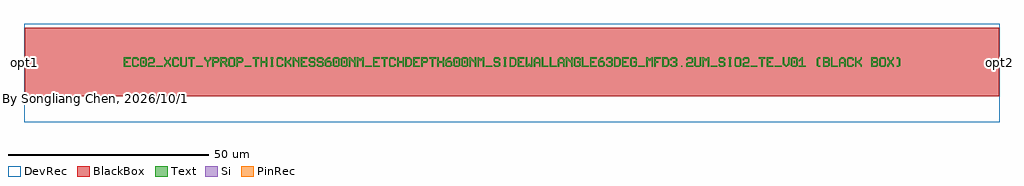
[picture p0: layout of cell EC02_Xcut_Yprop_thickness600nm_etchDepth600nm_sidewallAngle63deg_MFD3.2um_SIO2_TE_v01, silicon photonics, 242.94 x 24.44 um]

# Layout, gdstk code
import gdstk
lib = gdstk.Library(unit=1e-6, precision=1e-10)
def R(c, l, rs):  # rectangles x0, y0, x1, y1
    for r in rs: c.add(gdstk.rectangle(r[:2], r[2:], *l))
def A(c, l, x, y, w, h, nx, ny, dx, dy):  # array of equal rectangles
    R(c, l, [(x+i*dx, y+j*dy, x+i*dx+w, y+j*dy+h) for i in range(nx) for j in range(ny)])
def P(c, l, *ps):  # polygons
    for p in ps: c.add(gdstk.Polygon(p, *l))
Si = (1, 0)
PinRec = (1, 10)
Text = (10, 0)
DevRec = (68, 0)
BlackBox = (998, 0)

text = lib.new_cell('TEXT')
A(text, Text, 30, 0, 1.667, 0.333, 3, 1, 30, 0)
R(text, Text, [(8,0,9.667,0.333), (18,0,19.667,0.333), (128,0,129.667,0.333), (138.667,0,139,0.333), (146,0,147.667,0.333), (156,0,157.667,0.333), (162,0,163.667,0.333), (4.667,0.833,5,1.5), (52.667,0.833,53,1.5), (54.667,0.833,55,1.5), (82.667,0.833,83,1.5), (84.667,0.833,85,1.5), (166.667,0.833,167,1.5)])
P(text, Text, [(96,0),(96,2.334),(97.167,2.334),(97.5,2),(96.333,2),(96.333,0.333),(97,0.333),(97.333,0.667),(97.333,1.667),(97,2),(97.5,2),(97.667,1.833),(97.667,0.5),(97.167,0)],
  [(98,0),(98,2.334),(99.667,2.334),(99.667,2),(98.333,2),(98.333,1.333),(99,1.333),(99,1),(98.333,1),(98.333,0.333),(99.667,0.333),(99.667,0)],
  [(100,0),(100,2.334),(100.333,2.334),(100.333,0.5),(100.5,0.5),(100.833,0.833),(101.167,0.5),(101.333,0.5),(101.333,2.334),(101.667,2.334),(101.667,0),(101.167,0),(100.833,0.333),(100.5,0)],
  [(102,0),(102,1.833),(102.5,2.334),(103.167,2.334),(103.5,2),(102.667,2),(102.333,1.667),(102.333,1.167),(103.333,1.167),(103.333,1.667),(103,2),(103.5,2),(103.667,1.833),(103.667,0),(103.333,0),(103.333,0.833),(102.333,0.833),(102.333,0)],
  [(104,0),(104,2.334),(104.333,2.334),(104.333,0.333),(105.667,0.333),(105.667,0)],
  [(106,0),(106,2.334),(106.333,2.334),(106.333,0.333),(107.667,0.333),(107.667,0)],
  [(108,0),(108,1.833),(108.5,2.334),(109.167,2.334),(109.5,2),(108.667,2),(108.333,1.667),(108.333,1.167),(109.333,1.167),(109.333,1.667),(109,2),(109.5,2),(109.667,1.833),(109.667,0),(109.333,0),(109.333,0.833),(108.333,0.833),(108.333,0)],
  [(110,0),(110,2.334),(110.333,2.334),(111.167,1.5),(111.333,1.5),(111.333,2.334),(111.667,2.334),(111.667,0),(111.333,0),(111.333,0.833),(110.5,1.667),(110.333,1.667),(110.333,0)],
  [(112.333,0),(112,0.333),(112,2),(112.333,2.334),(113.333,2.334),(113.667,2),(113.667,1.667),(113.333,1.667),(113.333,1.833),(113.167,2),(112.5,2),(112.333,1.833),(112.333,0.5),(112.5,0.333),(113.167,0.333),(113.333,0.5),(113.333,1),(112.833,1),(112.833,1.333),(113.667,1.333),(113.667,0.333),(113.333,0)],
  [(114,0),(114,2.334),(114.333,2.334),(114.333,0.333),(115.667,0.333),(115.667,0)],
  [(116,0),(116,2.334),(117.667,2.334),(117.667,2),(116.333,2),(116.333,1.333),(117,1.333),(117,1),(116.333,1),(116.333,0.333),(117.667,0.333),(117.667,0)],
  [(118.333,0),(118,0.333),(118,1.667),(118.667,2.334),(119.333,2.334),(119.333,2),(118.833,2),(118.5,1.667),(118.5,1.5),(119.333,1.5),(119.667,1.167),(118.5,1.167),(118.333,1),(118.333,0.5),(118.5,0.333),(119.167,0.333),(119.333,0.5),(119.333,1),(119.167,1.167),(119.667,1.167),(119.667,0.333),(119.333,0)],
  [(120.333,0),(120,0.333),(120,0.667),(120.333,0.667),(120.333,0.5),(120.5,0.333),(121.167,0.333),(121.333,0.5),(121.333,0.833),(121.167,1),(120.667,1),(120.667,1.333),(121.167,1.333),(121.333,1.5),(121.333,1.833),(121.167,2),(120.5,2),(120.333,1.833),(120.333,1.667),(120,1.667),(120,2),(120.333,2.334),(121.333,2.334),(121.667,2),(121.667,1.333),(121.5,1.167),(121.667,1),(121.667,0.333),(121.333,0)],
  [(122,0),(122,2.334),(123.167,2.334),(123.5,2),(122.333,2),(122.333,0.333),(123,0.333),(123.333,0.667),(123.333,1.667),(123,2),(123.5,2),(123.667,1.833),(123.667,0.5),(123.167,0)],
  [(124,0),(124,2.334),(125.667,2.334),(125.667,2),(124.333,2),(124.333,1.333),(125,1.333),(125,1),(124.333,1),(124.333,0.333),(125.667,0.333),(125.667,0)],
  [(126.333,0),(126,0.333),(126,2),(126.333,2.334),(127.333,2.334),(127.667,2),(127.667,1.667),(127.333,1.667),(127.333,1.833),(127.167,2),(126.5,2),(126.333,1.833),(126.333,0.5),(126.5,0.333),(127.167,0.333),(127.333,0.5),(127.333,1),(126.833,1),(126.833,1.333),(127.667,1.333),(127.667,0.333),(127.333,0)],
  [(130,0),(130,2.334),(130.333,2.334),(130.667,2),(131,2),(131.333,2.334),(131.667,2.334),(131.667,0),(131.333,0),(131.333,1.667),(131.167,1.667),(130.833,1.333),(130.5,1.667),(130.333,1.667),(130.333,0)],
  [(132,0),(132,2.334),(133.667,2.334),(133.667,2),(132.333,2),(132.333,1.333),(133,1.333),(133,1),(132.333,1),(132.333,0)],
  [(134,0),(134,2.334),(135.167,2.334),(135.5,2),(134.333,2),(134.333,0.333),(135,0.333),(135.333,0.667),(135.333,1.667),(135,2),(135.5,2),(135.667,1.833),(135.667,0.5),(135.167,0)],
  [(136.333,0),(136,0.333),(136,0.667),(136.333,0.667),(136.333,0.5),(136.5,0.333),(137.167,0.333),(137.333,0.5),(137.333,0.833),(137.167,1),(136.667,1),(136.667,1.333),(137.167,1.333),(137.333,1.5),(137.333,1.833),(137.167,2),(136.5,2),(136.333,1.833),(136.333,1.667),(136,1.667),(136,2),(136.333,2.334),(137.333,2.334),(137.667,2),(137.667,1.333),(137.5,1.167),(137.667,1),(137.667,0.333),(137.333,0)],
  [(140,0),(140,0.833),(140.333,1.167),(141.167,1.167),(141.333,1.333),(141.333,1.833),(141.167,2),(140.5,2),(140.333,1.833),(140.333,1.667),(140,1.667),(140,2),(140.333,2.334),(141.333,2.334),(141.667,2),(141.667,1.167),(141.333,0.833),(140.5,0.833),(140.333,0.667),(140.333,0.333),(141.667,0.333),(141.667,0)],
  [(142.333,0),(142,0.333),(142,2.334),(142.333,2.334),(142.333,0.5),(142.5,0.333),(143.167,0.333),(143.333,0.5),(143.333,2.334),(143.667,2.334),(143.667,0.333),(143.333,0)],
  [(144,0),(144,2.334),(144.333,2.334),(144.667,2),(145,2),(145.333,2.334),(145.667,2.334),(145.667,0),(145.333,0),(145.333,1.667),(145.167,1.667),(144.833,1.333),(144.5,1.667),(144.333,1.667),(144.333,0)],
  [(148.333,0),(148,0.333),(148,0.667),(148.333,0.667),(148.333,0.5),(148.5,0.333),(149.167,0.333),(149.333,0.5),(149.333,0.833),(149.167,1),(148.333,1),(148,1.333),(148,2),(148.333,2.334),(149.333,2.334),(149.667,2),(149.667,1.667),(149.333,1.667),(149.333,1.833),(149.167,2),(148.5,2),(148.333,1.833),(148.333,1.5),(148.5,1.333),(149.333,1.333),(149.667,1),(149.667,0.333),(149.333,0)],
  [(150.5,0),(150.5,0.333),(150.667,0.333),(150.667,2),(150.5,2),(150.5,2.334),(151.167,2.334),(151.167,2),(151,2),(151,0.333),(151.167,0.333),(151.167,0)],
  [(152.333,0),(152,0.333),(152,2),(152.333,2.334),(153.333,2.334),(153.667,2),(153.667,1.167),(153.333,1.167),(153.333,1.833),(153.167,2),(152.5,2),(152.333,1.833),(152.333,0.5),(152.5,0.333),(153.167,0.333),(153.333,0.5),(153.333,1.167),(153.667,1.167),(153.667,0.333),(153.333,0)],
  [(154,0),(154,0.833),(154.333,1.167),(155.167,1.167),(155.333,1.333),(155.333,1.833),(155.167,2),(154.5,2),(154.333,1.833),(154.333,1.667),(154,1.667),(154,2),(154.333,2.334),(155.333,2.334),(155.667,2),(155.667,1.167),(155.333,0.833),(154.5,0.833),(154.333,0.667),(154.333,0.333),(155.667,0.333),(155.667,0)],
  [(158.667,0),(158.667,2),(158,2),(158,2.334),(159.667,2.334),(159.667,2),(159,2),(159,0)],
  [(160,0),(160,2.334),(161.667,2.334),(161.667,2),(160.333,2),(160.333,1.333),(161,1.333),(161,1),(160.333,1),(160.333,0.333),(161.667,0.333),(161.667,0)],
  [(164.667,0),(164,0.667),(164,2.334),(164.333,2.334),(164.333,0.833),(164.833,0.333),(165.333,0.833),(165.333,2.334),(165.667,2.334),(165.667,0.667),(165,0)],
  [(166.333,0),(166,0.333),(166,2),(166.333,2.334),(167.333,2.334),(167.667,2),(166.5,2),(166.333,1.833),(166.333,0.5),(166.5,0.333),(167.167,0.333),(167.333,0.5),(167.333,1.833),(167.167,2),(167.667,2),(167.667,0.333),(167.333,0)],
  [(168,0),(168,0.333),(168.667,0.333),(168.667,1.667),(168.5,1.667),(168.167,1.333),(168,1.333),(168,1.667),(168.667,2.334),(169,2.334),(169,0.333),(169.667,0.333),(169.667,0)],
  [(172.833,0),(172.5,0.333),(172.5,2),(172.833,2.334),(173.333,2.334),(173.333,2),(173,2),(172.833,1.833),(172.833,0.5),(173,0.333),(173.333,0.333),(173.333,0)],
  [(174,0),(174,2.334),(175.333,2.334),(175.667,2),(174.333,2),(174.333,1.333),(175.167,1.333),(175.333,1.5),(175.333,1.833),(175.167,2),(175.667,2),(175.667,1.333),(175.5,1.167),(175.667,1),(174.333,1),(174.333,0.333),(175.167,0.333),(175.333,0.5),(175.333,0.833),(175.167,1),(175.667,1),(175.667,0.333),(175.333,0)],
  [(176,0),(176,2.334),(176.333,2.334),(176.333,0.333),(177.667,0.333),(177.667,0)],
  [(178,0),(178,1.833),(178.5,2.334),(179.167,2.334),(179.5,2),(178.667,2),(178.333,1.667),(178.333,1.167),(179.333,1.167),(179.333,1.667),(179,2),(179.5,2),(179.667,1.833),(179.667,0),(179.333,0),(179.333,0.833),(178.333,0.833),(178.333,0)],
  [(180.333,0),(180,0.333),(180,2),(180.333,2.334),(181.333,2.334),(181.667,2),(181.667,1.667),(181.333,1.667),(181.333,1.833),(181.167,2),(180.5,2),(180.333,1.833),(180.333,0.5),(180.5,0.333),(181.167,0.333),(181.333,0.5),(181.333,0.667),(181.667,0.667),(181.667,0.333),(181.333,0)],
  [(182,0),(182,2.334),(182.333,2.334),(182.333,1.333),(182.667,1.333),(183.333,2),(183.333,2.334),(183.667,2.334),(183.667,1.833),(183,1.167),(183.667,0.5),(183.667,0),(183.333,0),(183.333,0.333),(182.667,1),(182.333,1),(182.333,0)],
  [(186,0),(186,2.334),(187.333,2.334),(187.667,2),(186.333,2),(186.333,1.333),(187.167,1.333),(187.333,1.5),(187.333,1.833),(187.167,2),(187.667,2),(187.667,1.333),(187.5,1.167),(187.667,1),(186.333,1),(186.333,0.333),(187.167,0.333),(187.333,0.5),(187.333,0.833),(187.167,1),(187.667,1),(187.667,0.333),(187.333,0)],
  [(188.333,0),(188,0.333),(188,2),(188.333,2.334),(189.333,2.334),(189.667,2),(189.667,1.167),(189.333,1.167),(189.333,1.833),(189.167,2),(188.5,2),(188.333,1.833),(188.333,0.5),(188.5,0.333),(189.167,0.333),(189.333,0.5),(189.333,1.167),(189.667,1.167),(189.667,0.333),(189.333,0)],
  [(190,0),(190,0.5),(190.5,1),(190.5,1.333),(190,1.833),(190,2.334),(190.333,2.334),(190.333,2),(190.833,1.5),(191.333,2),(191.333,2.334),(191.667,2.334),(191.667,1.833),(191.167,1.333),(191.167,1),(191.667,0.5),(191.667,0),(191.333,0),(191.333,0.333),(190.833,0.833),(190.333,0.333),(190.333,0)],
  [(192.333,0),(192.333,0.333),(192.667,0.333),(192.833,0.5),(192.833,1.833),(192.667,2),(192.333,2),(192.333,2.334),(192.833,2.334),(193.167,2),(193.167,0.333),(192.833,0)],
  [(86,0),(86,2.334),(86.333,2.334),(87.167,1.5),(87.333,1.5),(87.333,2.334),(87.667,2.334),(87.667,0),(87.333,0),(87.333,0.833),(86.5,1.667),(86.333,1.667),(86.333,0)],
  [(88,0),(88,2.334),(88.333,2.334),(88.667,2),(89,2),(89.333,2.334),(89.667,2.334),(89.667,0),(89.333,0),(89.333,1.667),(89.167,1.667),(88.833,1.333),(88.5,1.667),(88.333,1.667),(88.333,0)],
  [(92.333,0),(92,0.333),(92,0.667),(92.333,0.667),(92.333,0.5),(92.5,0.333),(93.167,0.333),(93.333,0.5),(93.333,0.833),(93.167,1),(92.333,1),(92,1.333),(92,2),(92.333,2.334),(93.333,2.334),(93.667,2),(93.667,1.667),(93.333,1.667),(93.333,1.833),(93.167,2),(92.5,2),(92.333,1.833),(92.333,1.5),(92.5,1.333),(93.333,1.333),(93.667,1),(93.667,0.333),(93.333,0)],
  [(94.5,0),(94.5,0.333),(94.667,0.333),(94.667,2),(94.5,2),(94.5,2.334),(95.167,2.334),(95.167,2),(95,2),(95,0.333),(95.167,0.333),(95.167,0)],
  [(0,0),(0,2.334),(1.667,2.334),(1.667,2),(0.333,2),(0.333,1.333),(1,1.333),(1,1),(0.333,1),(0.333,0.333),(1.667,0.333),(1.667,0)],
  [(2.333,0),(2,0.333),(2,2),(2.333,2.334),(3.333,2.334),(3.667,2),(3.667,1.667),(3.333,1.667),(3.333,1.833),(3.167,2),(2.5,2),(2.333,1.833),(2.333,0.5),(2.5,0.333),(3.167,0.333),(3.333,0.5),(3.333,0.667),(3.667,0.667),(3.667,0.333),(3.333,0)],
  [(4.333,0),(4,0.333),(4,2),(4.333,2.334),(5.333,2.334),(5.667,2),(4.5,2),(4.333,1.833),(4.333,0.5),(4.5,0.333),(5.167,0.333),(5.333,0.5),(5.333,1.833),(5.167,2),(5.667,2),(5.667,0.333),(5.333,0)],
  [(6,0),(6,0.833),(6.333,1.167),(7.167,1.167),(7.333,1.333),(7.333,1.833),(7.167,2),(6.5,2),(6.333,1.833),(6.333,1.667),(6,1.667),(6,2),(6.333,2.334),(7.333,2.334),(7.667,2),(7.667,1.167),(7.333,0.833),(6.5,0.833),(6.333,0.667),(6.333,0.333),(7.667,0.333),(7.667,0)],
  [(10,0),(10,0.5),(10.5,1),(10.5,1.333),(10,1.833),(10,2.334),(10.333,2.334),(10.333,2),(10.833,1.5),(11.333,2),(11.333,2.334),(11.667,2.334),(11.667,1.833),(11.167,1.333),(11.167,1),(11.667,0.5),(11.667,0),(11.333,0),(11.333,0.333),(10.833,0.833),(10.333,0.333),(10.333,0)],
  [(12.333,0),(12,0.333),(12,2),(12.333,2.334),(13.333,2.334),(13.667,2),(13.667,1.667),(13.333,1.667),(13.333,1.833),(13.167,2),(12.5,2),(12.333,1.833),(12.333,0.5),(12.5,0.333),(13.167,0.333),(13.333,0.5),(13.333,0.667),(13.667,0.667),(13.667,0.333),(13.333,0)],
  [(14.333,0),(14,0.333),(14,2.334),(14.333,2.334),(14.333,0.5),(14.5,0.333),(15.167,0.333),(15.333,0.5),(15.333,2.334),(15.667,2.334),(15.667,0.333),(15.333,0)],
  [(16.667,0),(16.667,2),(16,2),(16,2.334),(17.667,2.334),(17.667,2),(17,2),(17,0)],
  [(20.667,0),(20.667,1.167),(20,1.833),(20,2.334),(20.333,2.334),(20.333,2),(20.833,1.5),(21.333,2),(21.333,2.334),(21.667,2.334),(21.667,1.833),(21,1.167),(21,0)],
  [(22,0),(22,2.334),(23.333,2.334),(23.667,2),(23.667,1.333),(23.333,1),(22.333,1),(22.333,1.333),(23.167,1.333),(23.333,1.5),(23.333,1.833),(23.167,2),(22.333,2),(22.333,0)],
  [(24,0),(24,2.334),(25.333,2.334),(25.667,2),(24.333,2),(24.333,1.333),(25.167,1.333),(25.333,1.5),(25.333,1.833),(25.167,2),(25.667,2),(25.667,1.333),(25.333,1),(25.333,0.833),(25.667,0.5),(25.667,0),(25.333,0),(25.333,0.333),(24.667,1),(24.333,1),(24.333,0)],
  [(26.333,0),(26,0.333),(26,2),(26.333,2.334),(27.333,2.334),(27.667,2),(27.667,1.167),(27.333,1.167),(27.333,1.833),(27.167,2),(26.5,2),(26.333,1.833),(26.333,0.5),(26.5,0.333),(27.167,0.333),(27.333,0.5),(27.333,1.167),(27.667,1.167),(27.667,0.333),(27.333,0)],
  [(28,0),(28,2.334),(29.333,2.334),(29.667,2),(29.667,1.333),(29.333,1),(28.333,1),(28.333,1.333),(29.167,1.333),(29.333,1.5),(29.333,1.833),(29.167,2),(28.333,2),(28.333,0)],
  [(32.667,0),(32.667,2),(32,2),(32,2.334),(33.667,2.334),(33.667,2),(33,2),(33,0)],
  [(34,0),(34,2.334),(34.333,2.334),(34.333,1.333),(35.333,1.333),(35.333,2.334),(35.667,2.334),(35.667,0),(35.333,0),(35.333,1),(34.333,1),(34.333,0)],
  [(36.5,0),(36.5,0.333),(36.667,0.333),(36.667,2),(36.5,2),(36.5,2.334),(37.167,2.334),(37.167,2),(37,2),(37,0.333),(37.167,0.333),(37.167,0)],
  [(38.333,0),(38,0.333),(38,2),(38.333,2.334),(39.333,2.334),(39.667,2),(39.667,1.667),(39.333,1.667),(39.333,1.833),(39.167,2),(38.5,2),(38.333,1.833),(38.333,0.5),(38.5,0.333),(39.167,0.333),(39.333,0.5),(39.333,0.667),(39.667,0.667),(39.667,0.333),(39.333,0)],
  [(40,0),(40,2.334),(40.333,2.334),(40.333,1.333),(40.667,1.333),(41.333,2),(41.333,2.334),(41.667,2.334),(41.667,1.833),(41,1.167),(41.667,0.5),(41.667,0),(41.333,0),(41.333,0.333),(40.667,1),(40.333,1),(40.333,0)],
  [(42,0),(42,2.334),(42.333,2.334),(43.167,1.5),(43.333,1.5),(43.333,2.334),(43.667,2.334),(43.667,0),(43.333,0),(43.333,0.833),(42.5,1.667),(42.333,1.667),(42.333,0)],
  [(44,0),(44,2.334),(45.667,2.334),(45.667,2),(44.333,2),(44.333,1.333),(45,1.333),(45,1),(44.333,1),(44.333,0.333),(45.667,0.333),(45.667,0)],
  [(46.333,0),(46,0.333),(46,0.667),(46.333,0.667),(46.333,0.5),(46.5,0.333),(47.167,0.333),(47.333,0.5),(47.333,0.833),(47.167,1),(46.333,1),(46,1.333),(46,2),(46.333,2.334),(47.333,2.334),(47.667,2),(47.667,1.667),(47.333,1.667),(47.333,1.833),(47.167,2),(46.5,2),(46.333,1.833),(46.333,1.5),(46.5,1.333),(47.333,1.333),(47.667,1),(47.667,0.333),(47.333,0)],
  [(48.333,0),(48,0.333),(48,0.667),(48.333,0.667),(48.333,0.5),(48.5,0.333),(49.167,0.333),(49.333,0.5),(49.333,0.833),(49.167,1),(48.333,1),(48,1.333),(48,2),(48.333,2.334),(49.333,2.334),(49.667,2),(49.667,1.667),(49.333,1.667),(49.333,1.833),(49.167,2),(48.5,2),(48.333,1.833),(48.333,1.5),(48.5,1.333),(49.333,1.333),(49.667,1),(49.667,0.333),(49.333,0)],
  [(50.333,0),(50,0.333),(50,1.667),(50.667,2.334),(51.333,2.334),(51.333,2),(50.833,2),(50.5,1.667),(50.5,1.5),(51.333,1.5),(51.667,1.167),(50.5,1.167),(50.333,1),(50.333,0.5),(50.5,0.333),(51.167,0.333),(51.333,0.5),(51.333,1),(51.167,1.167),(51.667,1.167),(51.667,0.333),(51.333,0)],
  [(52.333,0),(52,0.333),(52,2),(52.333,2.334),(53.333,2.334),(53.667,2),(52.5,2),(52.333,1.833),(52.333,0.5),(52.5,0.333),(53.167,0.333),(53.333,0.5),(53.333,1.833),(53.167,2),(53.667,2),(53.667,0.333),(53.333,0)],
  [(54.333,0),(54,0.333),(54,2),(54.333,2.334),(55.333,2.334),(55.667,2),(54.5,2),(54.333,1.833),(54.333,0.5),(54.5,0.333),(55.167,0.333),(55.333,0.5),(55.333,1.833),(55.167,2),(55.667,2),(55.667,0.333),(55.333,0)],
  [(56,0),(56,2.334),(56.333,2.334),(57.167,1.5),(57.333,1.5),(57.333,2.334),(57.667,2.334),(57.667,0),(57.333,0),(57.333,0.833),(56.5,1.667),(56.333,1.667),(56.333,0)],
  [(58,0),(58,2.334),(58.333,2.334),(58.667,2),(59,2),(59.333,2.334),(59.667,2.334),(59.667,0),(59.333,0),(59.333,1.667),(59.167,1.667),(58.833,1.333),(58.5,1.667),(58.333,1.667),(58.333,0)],
  [(62,0),(62,2.334),(63.667,2.334),(63.667,2),(62.333,2),(62.333,1.333),(63,1.333),(63,1),(62.333,1),(62.333,0.333),(63.667,0.333),(63.667,0)],
  [(64.667,0),(64.667,2),(64,2),(64,2.334),(65.667,2.334),(65.667,2),(65,2),(65,0)],
  [(66.333,0),(66,0.333),(66,2),(66.333,2.334),(67.333,2.334),(67.667,2),(67.667,1.667),(67.333,1.667),(67.333,1.833),(67.167,2),(66.5,2),(66.333,1.833),(66.333,0.5),(66.5,0.333),(67.167,0.333),(67.333,0.5),(67.333,0.667),(67.667,0.667),(67.667,0.333),(67.333,0)],
  [(68,0),(68,2.334),(68.333,2.334),(68.333,1.333),(69.333,1.333),(69.333,2.334),(69.667,2.334),(69.667,0),(69.333,0),(69.333,1),(68.333,1),(68.333,0)],
  [(70,0),(70,2.334),(71.167,2.334),(71.5,2),(70.333,2),(70.333,0.333),(71,0.333),(71.333,0.667),(71.333,1.667),(71,2),(71.5,2),(71.667,1.833),(71.667,0.5),(71.167,0)],
  [(72,0),(72,2.334),(73.667,2.334),(73.667,2),(72.333,2),(72.333,1.333),(73,1.333),(73,1),(72.333,1),(72.333,0.333),(73.667,0.333),(73.667,0)],
  [(74,0),(74,2.334),(75.333,2.334),(75.667,2),(75.667,1.333),(75.333,1),(74.333,1),(74.333,1.333),(75.167,1.333),(75.333,1.5),(75.333,1.833),(75.167,2),(74.333,2),(74.333,0)],
  [(76.667,0),(76.667,2),(76,2),(76,2.334),(77.667,2.334),(77.667,2),(77,2),(77,0)],
  [(78,0),(78,2.334),(78.333,2.334),(78.333,1.333),(79.333,1.333),(79.333,2.334),(79.667,2.334),(79.667,0),(79.333,0),(79.333,1),(78.333,1),(78.333,0)],
  [(80.333,0),(80,0.333),(80,1.667),(80.667,2.334),(81.333,2.334),(81.333,2),(80.833,2),(80.5,1.667),(80.5,1.5),(81.333,1.5),(81.667,1.167),(80.5,1.167),(80.333,1),(80.333,0.5),(80.5,0.333),(81.167,0.333),(81.333,0.5),(81.333,1),(81.167,1.167),(81.667,1.167),(81.667,0.333),(81.333,0)],
  [(82.333,0),(82,0.333),(82,2),(82.333,2.334),(83.333,2.334),(83.667,2),(82.5,2),(82.333,1.833),(82.333,0.5),(82.5,0.333),(83.167,0.333),(83.333,0.5),(83.333,1.833),(83.167,2),(83.667,2),(83.667,0.333),(83.333,0)],
  [(84.333,0),(84,0.333),(84,2),(84.333,2.334),(85.333,2.334),(85.667,2),(84.5,2),(84.333,1.833),(84.333,0.5),(84.5,0.333),(85.167,0.333),(85.333,0.5),(85.333,1.833),(85.167,2),(85.667,2),(85.667,0.333),(85.333,0)])

ec02_xcut_yprop_thicknes = lib.new_cell('EC02_Xcut_Yprop_thickness600nm_etchDepth600nm_sidewallAngle63deg_MFD3.2um_SIO2_TE_v01')
R(ec02_xcut_yprop_thicknes, Si, [(-121.4601,-1.4421,-121.2601,1.4421), (121.26,-0.7,121.46,0.7)])
R(ec02_xcut_yprop_thicknes, DevRec, [(-121.4601,-14.9189,121.46,9.5189)])
R(ec02_xcut_yprop_thicknes, BlackBox, [(-121.2601,-8.5189,121.26,8.5189)])
ec02_xcut_yprop_thicknes.add(gdstk.FlexPath([(-121.4501,0),(-121.4701,0)], 2.8842, ends="flush", simple_path=True, layer=1, datatype=10))  # PinRec
ec02_xcut_yprop_thicknes.add(gdstk.FlexPath([(121.45,0),(121.47,0)], 1.4, ends="flush", simple_path=True, layer=1, datatype=10))  # PinRec
ec02_xcut_yprop_thicknes.add(gdstk.Reference(text, (-96.5836,-1.167)))
ec02_xcut_yprop_thicknes.add(gdstk.Label('By Songliang Chen, 2026/10/13', (-120.9601,-9.0189), layer=10, texttype=0))
ec02_xcut_yprop_thicknes.add(gdstk.Label('opt1', (-121.4601,0), layer=1, texttype=10))
ec02_xcut_yprop_thicknes.add(gdstk.Label('opt2', (121.46,0), layer=1, texttype=10))

lib.write_gds('EC02_Xcut_Yprop_thickness600nm_etchDepth600nm_sidewallAngle63deg_MFD3.2um_SIO2_TE_v01.gds')
